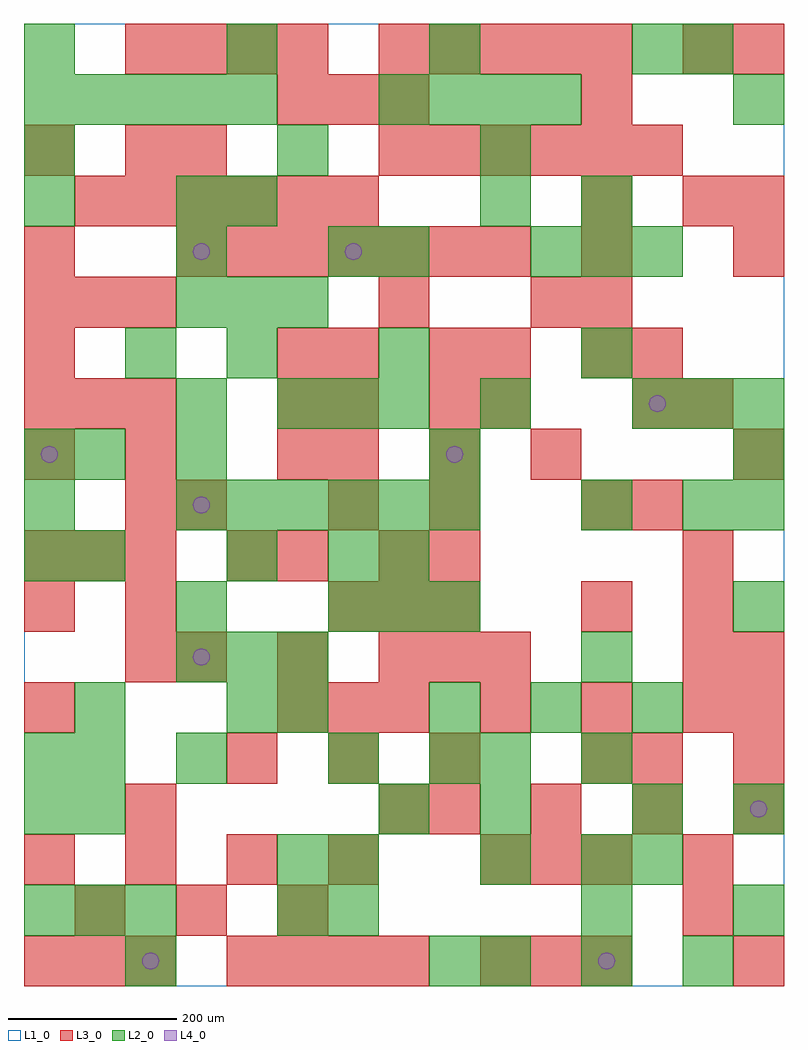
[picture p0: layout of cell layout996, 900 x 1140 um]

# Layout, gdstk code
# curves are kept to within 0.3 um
import gdstk
lib = gdstk.Library(unit=1e-6, precision=1e-09)
def R(c, l, rs):  # rectangles x0, y0, x1, y1
    for r in rs: c.add(gdstk.rectangle(r[:2], r[2:], *l))
def A(c, l, x, y, w, h, nx, ny, dx, dy):  # array of equal rectangles
    R(c, l, [(x+i*dx, y+j*dy, x+i*dx+w, y+j*dy+h) for i in range(nx) for j in range(ny)])
def P(c, l, *ps):  # polygons
    for p in ps: c.add(gdstk.Polygon(p, *l))
L1_0 = (1, 0)
L2_0 = (2, 0)
L3_0 = (3, 0)
L4_0 = (4, 0)

layout996 = lib.new_cell('layout996')
R(layout996, L1_0, [(0,0,900,1140)])
A(layout996, L2_0, 540, 0, 60, 60, 3, 1, 120, 0)
A(layout996, L2_0, 0, 60, 60, 60, 3, 1, 60, 0)
A(layout996, L2_0, 540, 120, 60, 60, 1, 3, 0, 60)
A(layout996, L2_0, 660, 120, 60, 60, 1, 3, 0, 120)
A(layout996, L2_0, 60, 180, 60, 60, 1, 3, 0, 60)
A(layout996, L2_0, 180, 240, 60, 60, 1, 3, 0, 180)
A(layout996, L2_0, 480, 300, 60, 60, 3, 1, 120, 0)
A(layout996, L2_0, 180, 360, 60, 60, 3, 2, 60, 420)
A(layout996, L2_0, 360, 420, 60, 60, 3, 1, 60, 0)
A(layout996, L2_0, 0, 480, 60, 60, 1, 3, 0, 60)
A(layout996, L2_0, 180, 540, 60, 60, 6, 1, 60, 0)
A(layout996, L2_0, 660, 540, 60, 60, 1, 3, 0, 180)
A(layout996, L2_0, 300, 660, 60, 60, 3, 1, 60, 0)
A(layout996, L2_0, 720, 660, 60, 60, 3, 1, 60, 0)
A(layout996, L2_0, 600, 840, 60, 60, 3, 1, 60, 0)
A(layout996, L2_0, 0, 1020, 60, 60, 5, 1, 60, 0)
A(layout996, L2_0, 420, 1020, 60, 60, 4, 1, 60, 0)
A(layout996, L2_0, 0, 1080, 60, 60, 4, 1, 240, 0)
R(layout996, L2_0, [(120,0,180,60), (480,0,540,60), (300,60,360,120), (360,60,420,120), (660,60,720,120), (840,60,900,120), (300,120,360,180), (360,120,420,180), (720,120,780,180), (0,180,60,240), (420,180,480,240), (720,180,780,240), (840,180,900,240), (0,240,60,300), (360,240,420,300), (480,240,540,300), (240,300,300,360), (300,300,360,360), (840,420,900,480), (60,480,120,540), (240,480,300,540), (360,480,420,540), (420,480,480,540), (780,540,840,600), (840,540,900,600), (60,600,120,660), (480,600,540,660), (840,600,900,660), (180,660,240,720), (540,660,600,720), (120,720,180,780), (240,720,300,780), (420,720,480,780), (180,840,240,900), (360,840,420,900), (420,840,480,900), (0,900,60,960), (180,900,240,960), (240,900,300,960), (540,900,600,960), (0,960,60,1020), (300,960,360,1020), (540,960,600,1020), (840,1020,900,1080), (780,1080,840,1140)])
A(layout996, L3_0, 0, 0, 60, 60, 3, 2, 60, 480)
A(layout996, L3_0, 240, 0, 60, 60, 4, 1, 60, 0)
A(layout996, L3_0, 540, 0, 60, 60, 3, 2, 60, 120)
A(layout996, L3_0, 60, 60, 60, 60, 3, 1, 120, 0)
A(layout996, L3_0, 0, 120, 60, 60, 4, 1, 120, 0)
A(layout996, L3_0, 420, 180, 60, 60, 1, 3, 0, 300)
A(layout996, L3_0, 480, 180, 60, 60, 4, 1, 120, 0)
A(layout996, L3_0, 240, 240, 60, 60, 3, 1, 120, 0)
A(layout996, L3_0, 840, 240, 60, 60, 1, 3, 0, 60)
A(layout996, L3_0, 300, 300, 60, 60, 3, 2, 60, 720)
A(layout996, L3_0, 540, 300, 60, 60, 3, 1, 120, 0)
A(layout996, L3_0, 180, 360, 60, 60, 3, 1, 120, 0)
A(layout996, L3_0, 780, 360, 60, 60, 1, 3, 0, 60)
A(layout996, L3_0, 360, 420, 60, 60, 3, 1, 60, 0)
A(layout996, L3_0, 0, 600, 60, 60, 1, 4, 0, 120)
A(layout996, L3_0, 300, 600, 60, 60, 1, 3, 0, 60)
A(layout996, L3_0, 360, 600, 60, 60, 3, 1, 120, 0)
A(layout996, L3_0, 0, 660, 60, 60, 3, 2, 60, 120)
A(layout996, L3_0, 660, 720, 60, 60, 1, 4, 0, 60)
A(layout996, L3_0, 180, 840, 60, 60, 7, 1, 60, 0)
A(layout996, L3_0, 60, 900, 60, 60, 6, 1, 60, 0)
A(layout996, L3_0, 420, 960, 60, 60, 6, 1, 60, 0)
A(layout996, L3_0, 120, 1080, 60, 60, 4, 1, 60, 0)
A(layout996, L3_0, 420, 1080, 60, 60, 5, 1, 60, 0)
R(layout996, L3_0, [(840,0,900,60), (780,60,840,120), (780,120,840,180), (120,180,180,240), (660,240,720,300), (720,240,780,300), (0,300,60,360), (120,360,180,420), (480,360,540,420), (540,360,600,420), (0,420,60,480), (120,420,180,480), (660,420,720,480), (240,480,300,540), (300,480,360,540), (480,480,540,540), (120,540,180,600), (180,540,240,600), (360,540,420,600), (480,540,540,600), (660,540,720,600), (720,540,780,600), (120,600,180,660), (840,600,900,660), (360,660,420,720), (480,660,540,720), (540,660,600,720), (720,660,780,720), (780,660,840,720), (360,720,420,780), (480,720,540,780), (540,720,600,780), (720,720,780,780), (600,780,660,840), (840,840,900,900), (780,900,840,960), (840,900,900,960), (120,960,180,1020), (180,960,240,1020), (660,1020,720,1080), (780,1080,840,1140), (840,1080,900,1140)])
P(layout996, L4_0, [(40,630),(39.239,633.827),(37.071,637.071),(33.827,639.239),(30,640),(26.173,639.239),(22.929,637.071),(20.761,633.827),(20,630),(20.761,626.173),(22.929,622.929),(26.173,620.761),(30,620),(33.827,620.761),(37.071,622.929),(39.239,626.173)],
  [(160,30),(159.239,33.827),(157.071,37.071),(153.827,39.239),(150,40),(146.173,39.239),(142.929,37.071),(140.761,33.827),(140,30),(140.761,26.173),(142.929,22.929),(146.173,20.761),(150,20),(153.827,20.761),(157.071,22.929),(159.239,26.173)],
  [(220,390),(219.239,393.827),(217.071,397.071),(213.827,399.239),(210,400),(206.173,399.239),(202.929,397.071),(200.761,393.827),(200,390),(200.761,386.173),(202.929,382.929),(206.173,380.761),(210,380),(213.827,380.761),(217.071,382.929),(219.239,386.173)],
  [(220,570),(219.239,573.827),(217.071,577.071),(213.827,579.239),(210,580),(206.173,579.239),(202.929,577.071),(200.761,573.827),(200,570),(200.761,566.173),(202.929,562.929),(206.173,560.761),(210,560),(213.827,560.761),(217.071,562.929),(219.239,566.173)],
  [(220,870),(219.239,873.827),(217.071,877.071),(213.827,879.239),(210,880),(206.173,879.239),(202.929,877.071),(200.761,873.827),(200,870),(200.761,866.173),(202.929,862.929),(206.173,860.761),(210,860),(213.827,860.761),(217.071,862.929),(219.239,866.173)],
  [(400,870),(399.239,873.827),(397.071,877.071),(393.827,879.239),(390,880),(386.173,879.239),(382.929,877.071),(380.761,873.827),(380,870),(380.761,866.173),(382.929,862.929),(386.173,860.761),(390,860),(393.827,860.761),(397.071,862.929),(399.239,866.173)],
  [(520,630),(519.239,633.827),(517.071,637.071),(513.827,639.239),(510,640),(506.173,639.239),(502.929,637.071),(500.761,633.827),(500,630),(500.761,626.173),(502.929,622.929),(506.173,620.761),(510,620),(513.827,620.761),(517.071,622.929),(519.239,626.173)],
  [(700,30),(699.239,33.827),(697.071,37.071),(693.827,39.239),(690,40),(686.173,39.239),(682.929,37.071),(680.761,33.827),(680,30),(680.761,26.173),(682.929,22.929),(686.173,20.761),(690,20),(693.827,20.761),(697.071,22.929),(699.239,26.173)],
  [(760,690),(759.239,693.827),(757.071,697.071),(753.827,699.239),(750,700),(746.173,699.239),(742.929,697.071),(740.761,693.827),(740,690),(740.761,686.173),(742.929,682.929),(746.173,680.761),(750,680),(753.827,680.761),(757.071,682.929),(759.239,686.173)],
  [(880,210),(879.239,213.827),(877.071,217.071),(873.827,219.239),(870,220),(866.173,219.239),(862.929,217.071),(860.761,213.827),(860,210),(860.761,206.173),(862.929,202.929),(866.173,200.761),(870,200),(873.827,200.761),(877.071,202.929),(879.239,206.173)])

lib.write_gds('layout996.gds')
